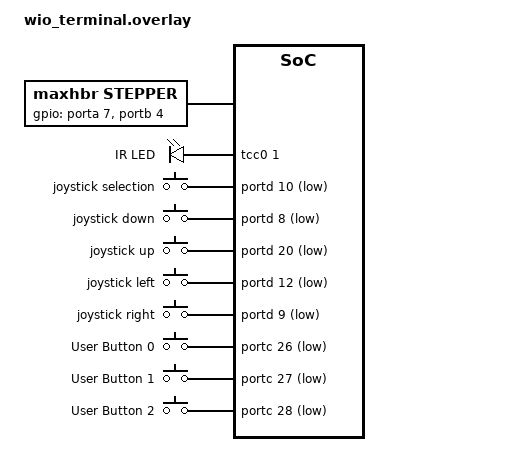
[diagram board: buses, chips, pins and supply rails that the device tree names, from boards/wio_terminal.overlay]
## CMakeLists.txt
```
# SPDX-License-Identifier: Apache-2.0

# Re-direct the directory where the 'boards' directory is found from
# $ZEPHYR_BASE to this directory.
# set(BOARD_ROOT ${CMAKE_CURRENT_LIST_DIR})


# set(BOARD wio_terminal)
# set(BOARD nucleo_f767zi)
# set(SHIELD adafruit_2_8_tft_touch_v2)

set(CMAKE_C_FLAGS -lstdc++)
set(CMAKE_CXX_FLAGS -lstdc++)

cmake_minimum_required(VERSION 3.13.1)

find_package(Zephyr REQUIRED HINTS $ENV{ZEPHYR_BASE})
project(zephyr-rail)

zephyr_library_compile_options(-lstdc++ -std=c++17 -Wall -Wextra -Wno-missing-field-initializers -Wno-unused-variable -Wno-comment)


FILE(GLOB app_sources src/*.cpp)
target_sources(app PRIVATE ${app_sources})
```

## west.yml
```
manifest:
  defaults:
    remote: zephyrproject-rtos
  remotes:
    - name: zephyrproject-rtos
      url-base: https://github.com/zephyrproject-rtos
  projects:
    - name: zephyr
      remote: zephyrproject-rtos
      revision: v3.5.0
      clone-depth: 1
      import: true
  self:
    path: zephyr-template
```

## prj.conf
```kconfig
CONFIG_NEWLIB_LIBC=y
CONFIG_CPLUSPLUS=y
CONFIG_LIB_CPLUSPLUS=y
CONFIG_STD_CPP17=y

CONFIG_EARLY_CONSOLE=y

CONFIG_HEAP_MEM_POOL_SIZE=16384
CONFIG_MAIN_STACK_SIZE=2048
CONFIG_LV_Z_MEM_POOL_SIZE=16384
CONFIG_LV_Z_SHELL=y

CONFIG_INIT_STACKS=y
CONFIG_THREAD_STACK_INFO=y
CONFIG_SYSTEM_WORKQUEUE_STACK_SIZE=4096
# CONFIG_BT_RX_STACK_SIZE=4096

CONFIG_CONSOLE_SUBSYS=y
CONFIG_CONSOLE_GETLINE=y

CONFIG_PWM=y

CONFIG_LOG=y
CONFIG_ASSERT=y
CONFIG_SHELL=y

CONFIG_I2C=y
CONFIG_SPI=y

CONFIG_INPUT=y
CONFIG_GPIO=y

###############################################################################
### zbus
CONFIG_ZBUS=y
CONFIG_ZBUS_LOG_LEVEL_INF=y
CONFIG_ZBUS_CHANNEL_NAME=y
CONFIG_ZBUS_OBSERVER_NAME=y
CONFIG_ZBUS_RUNTIME_OBSERVERS=y

###############################################################################
### lvgl
CONFIG_DISPLAY=y
CONFIG_DISPLAY_LOG_LEVEL_ERR=y
CONFIG_LVGL=y
CONFIG_LV_MEM_CUSTOM=y
CONFIG_LV_USE_LOG=y
CONFIG_LV_USE_LABEL=y
CONFIG_LV_USE_BTN=y
CONFIG_LV_USE_ARC=y
CONFIG_LV_USE_IMG=y
CONFIG_LV_USE_MONKEY=y
CONFIG_LV_FONT_MONTSERRAT_14=y
# CONFIG_LVGL_HOR_RES_MAX=320
# CONFIG_LVGL_VER_RES_MAX=240
# CONFIG_LVGL_LOG_LEVEL_WRN=y

# # Make sure that the rendering task is always executed if we call
# # lv_task_handler by setting the refresh period to zero
# CONFIG_LVGL_DISP_DEF_REFR_PERIOD=0
# # CONFIG_LVGL_COLOR_SCREEN_TRANSP=y
# CONFIG_LVGL_ANTIALIAS=y

# # CONFIG_LVGL_POINTER_KSCAN=y
# # CONFIG_LVGL_POINTER_KSCAN_MSGQ_COUNT=100

# # CONFIG_LVGL_USE_ANIMATION=y
# # CONFIG_LVGL_USE_SHADOW=y
# # CONFIG_LVGL_USE_OUTLINE=y
# # CONFIG_LVGL_USE_PATTERN=y
# # CONFIG_LVGL_USE_VALUE_STR=y
# # CONFIG_LVGL_USE_BLEND_MODES=y
# # CONFIG_LVGL_USE_OPA_SCALE=y
# # CONFIG_LVGL_USE_IMG_TRANSFORM=y
# # CONFIG_LVGL_USE_GROUP=y
# # CONFIG_LVGL_USE_GPU=y
# # CONFIG_LVGL_IMG_CF_INDEXED=y
# # CONFIG_LVGL_IMG_CF_ALPHA=y
# # CONFIG_LVGL_USE_FILESYSTEM=y
# # CONFIG_LVGL_DOUBLE_VDB=y
# # CONFIG_LVGL_USE_BIDI=y
# # CONFIG_LVGL_USE_ARABIC_PERSIAN_CHARS=y
# # CONFIG_LVGL_USE_OBJ_REALIGN=y
# CONFIG_LVGL_USE_LABEL=y
# # CONFIG_LVGL_LABEL_TEXT_SEL=y
# # CONFIG_LVGL_LABEL_LONG_TXT_HINT=y
# # CONFIG_LVGL_USE_IMG=y
# # CONFIG_LVGL_USE_LINE=y
# # CONFIG_LVGL_USE_ARC=y
# CONFIG_LVGL_USE_CONT=y
# CONFIG_LVGL_USE_PAGE=y
# CONFIG_LVGL_USE_WIN=y
# CONFIG_LVGL_USE_TABVIEW=y
# # CONFIG_LVGL_USE_TILEVIEW=y
# # CONFIG_LVGL_USE_CALENDAR=y
# # CONFIG_LVGL_CALENDAR_WEEK_STARTS_MONDAY=y
# # CONFIG_LVGL_USE_SPINNER=y
# # CONFIG_LVGL_USE_CANVAS=y
# CONFIG_LVGL_USE_BAR=y
# # CONFIG_LVGL_USE_LINEMETER=y
# # CONFIG_LVGL_USE_GAUGE=y
# # CONFIG_LVGL_USE_CHART=y
# # CONFIG_LVGL_USE_TABLE=y
# # CONFIG_LVGL_USE_LED=y
# # CONFIG_LVGL_USE_MSGBOX=y
# # CONFIG_LVGL_USE_TEXTAREA=y
# # CONFIG_LVGL_USE_SPINBOX=y
# CONFIG_LVGL_USE_BTN=y
# # CONFIG_LVGL_USE_IMGBTN=y
# # CONFIG_LVGL_IMGBTN_TILED=y
# CONFIG_LVGL_USE_BTNMATRIX=y
# # CONFIG_LVGL_USE_KEYBOARD=y
# CONFIG_LVGL_USE_CHECKBOX=y
# CONFIG_LVGL_USE_LIST=y
# CONFIG_LVGL_USE_DROPDOWN=y
# CONFIG_LVGL_USE_ROLLER=y
# CONFIG_LVGL_USE_SLIDER=y
# # CONFIG_LVGL_USE_SWITCH=y
# # CONFIG_LVGL_USE_LED=y
# # CONFIG_LVGL_USE_OBJMASK=y
# CONFIG_LVGL_USE_THEME_MATERIAL=y
# # CONFIG_LVGL_FONT_MONTSERRAT_8=y
# # CONFIG_LVGL_FONT_MONTSERRAT_10=y
# CONFIG_LVGL_FONT_MONTSERRAT_12=y
# # CONFIG_LVGL_FONT_MONTSERRAT_14=y
# CONFIG_LVGL_FONT_MONTSERRAT_16=y
# # CONFIG_LVGL_FONT_MONTSERRAT_18=y
# # CONFIG_LVGL_FONT_MONTSERRAT_20=y
# # CONFIG_LVGL_FONT_MONTSERRAT_22=y
# CONFIG_LVGL_FONT_MONTSERRAT_24=y
# # CONFIG_LVGL_FONT_MONTSERRAT_26=y
# CONFIG_LVGL_FONT_MONTSERRAT_28=y
# # CONFIG_LVGL_FONT_MONTSERRAT_30=y
# # CONFIG_LVGL_FONT_MONTSERRAT_32=y
# # CONFIG_LVGL_FONT_MONTSERRAT_34=y
# # CONFIG_LVGL_FONT_MONTSERRAT_36=y
# # CONFIG_LVGL_FONT_MONTSERRAT_38=y
# # CONFIG_LVGL_FONT_MONTSERRAT_40=y
# # CONFIG_LVGL_FONT_MONTSERRAT_42=y
# # CONFIG_LVGL_FONT_MONTSERRAT_44=y
# # CONFIG_LVGL_FONT_MONTSERRAT_46=y
# # CONFIG_LVGL_FONT_MONTSERRAT_48=y
# # CONFIG_LVGL_FONT_MONTSERRAT_12_SUBPX=y
# # CONFIG_LVGL_FONT_MONTSERRAT_28_COMPRESSED=y
# # CONFIG_LVGL_FONT_DEJAVU_16_PERSIAN_HEBREW=y
# # CONFIG_LVGL_FONT_SIMSUN_16_CJK=y
# # CONFIG_LVGL_FONT_UNSCII_8=y
# # CONFIG_LVGL_USE_FONT_COMPRESSED=y
# # CONFIG_LVGL_USE_FONT_SUBPX=y

# # CONFIG_LVGL_VDB_SIZE=64
# # CONFIG_LVGL_DPI=148
# # CONFIG_LVGL_BITS_PER_PIXEL=1
# # CONFIG_LVGL_COLOR_DEPTH=LVGL_COLOR_DEPTH_1

###############################################################################
### sensors
CONFIG_SENSOR=y
CONFIG_CBPRINTF_FP_SUPPORT=y

# CONFIG_BMI160=y

###############################################################################
### networking
# CONFIG_NETWORKING=y

# CONFIG_NET_CONFIG_AUTO_INIT=y

# # #CONFIG_NET_TX_STACK_SIZE=2048
# # #CONFIG_NET_RX_STACK_SIZE=2048

# # #CONFIG_NET_PKT_RX_COUNT=10
# # #CONFIG_NET_PKT_TX_COUNT=10
# # #CONFIG_NET_BUF_RX_COUNT=20
# # #CONFIG_NET_BUF_TX_COUNT=20
# # #CONFIG_NET_MAX_CONTEXTS=10


# # CONFIG_NET_IPV4=y
# # CONFIG_NET_IPV6=n

# # CONFIG_NET_TCP=y

# # CONFIG_NET_LOG=y
# # CONFIG_INIT_STACKS=y

# # #CONFIG_NET_STATISTICS=y
# # #CONFIG_NET_STATISTICS_PERIODIC_OUTPUT=n

# CONFIG_WIFI=y
# CONFIG_WIFI_LOG_LEVEL_ERR=y
# # # CONFIG_NET_L2_WIFI_SHELL=y
```

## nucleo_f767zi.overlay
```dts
/*
 *
 * SPDX-License-Identifier: Apache-2.0
 */
 / {
	stepper: stepper {
		compatible = "stepper";
		gpios = <&gpioe 9 GPIO_ACTIVE_HIGH>, /* D6 */
		        <&gpioe 11 GPIO_ACTIVE_HIGH>; /* D5 */
	};


	aliases {
		pwmir = &ir_pwm_led;
	};

	pwmleds {
		compatible = "pwm-leds";
		ir_pwm_led: ir_pwm_led {
			pwms = <&pwm5 4 4 PWM_POLARITY_NORMAL>;
			label = "IR LED - A0";
		};
	};

	chosen {
		rail,pwmir = &ir_pwm_led;
	};
};

&arduino_i2c {
	status = "okay";
	touch_controller: ft5336@38 {
		compatible = "focaltech,ft5336";
		reg = <0x38>;
		/* label = "FT5336"; */
		/* Uncomment if IRQ line is available (requires to solder jumper) */
		/* int-gpios = <&arduino_header 13 GPIO_ACTIVE_LOW>; */ /* D7 */
	};
};

&arduino_spi {
	ili9340@0 {
		rotation = < 90 >;
		compatible = "ilitek,ili9340";
	};
};

// &arduino_serial {
// 	status = "okay";
// 	current-speed = <115200>;
// 
// 	esp8266 {
// 		compatible = "espressif,esp";
// 		label = "esp8266";
// 		status = "okay";
// 	};
// };

&timers5 {
    status = "okay";

    pwm5: pwm {
        status = "okay";
		/* st,prescaler = < 2 >; */
		pinctrl-names = "default";
        pinctrl-0 = <&tim5_ch4_pa3>; /* A0 */
    };
};
```

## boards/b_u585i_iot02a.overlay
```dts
/*
 *
 * SPDX-License-Identifier: Apache-2.0
 */
/ {
    stepper: stepper {
        compatible = "maxhbr,stepper";
        gpios = <&gpiob 6 GPIO_ACTIVE_HIGH>, /* D6 */
                <&gpioe 0 GPIO_ACTIVE_HIGH>; /* D5 */
        // pitch = <2>;
        // pulses_per_rev = <50000>;
    };
};
```

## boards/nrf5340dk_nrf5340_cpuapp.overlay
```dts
/*
 *
 * SPDX-License-Identifier: Apache-2.0
 */
/ {
    stepper: stepper {
        compatible = "maxhbr,stepper";
        gpios = <&gpio1 8 0>, /* D6 */
        <&gpio1 7 0>; /* D5 */
        // pitch = <2>;
        // pulses_per_rev = <50000>;
    };

    pwmleds {
        compatible = "pwm-leds";
        ir_pwm_led: ir_pwm_led {
            pwms = <&sw_pwm 0 PWM_MSEC(20) PWM_POLARITY_INVERTED>;
            label = "IR LED";
        };
    };

    chosen {
        rail,pwmir = &ir_pwm_led;
    };
};
```

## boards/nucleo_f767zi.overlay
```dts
/*
 *
 * SPDX-License-Identifier: Apache-2.0
 */
 / {
	stepper: stepper {
		compatible = "stepper";
		gpios = <&gpioe 9 GPIO_ACTIVE_HIGH>, /* D6 */
		        <&gpioe 11 GPIO_ACTIVE_HIGH>; /* D5 */
		#pitch = <2>;
		pulses_per_rev = <50000>;
	};


	aliases {
		pwmir = &ir_pwm_led;
	};

	pwmleds {
		compatible = "pwm-leds";
		ir_pwm_led: ir_pwm_led {
			pwms = <&pwm5 4 4 PWM_POLARITY_NORMAL>;
			label = "IR LED - A0";
		};
	};

	chosen {
		rail,pwmir = &ir_pwm_led;
	};
};

&arduino_i2c {
	status = "okay";
	touch_controller: ft5336@38 {
		compatible = "focaltech,ft5336";
		reg = <0x38>;
		/* label = "FT5336"; */
		/* Uncomment if IRQ line is available (requires to solder jumper) */
		/* int-gpios = <&arduino_header 13 GPIO_ACTIVE_LOW>; */ /* D7 */
	};
};

&arduino_spi {
	ili9340@0 {
		rotation = < 90 >;
		compatible = "ilitek,ili9340";
	};
};

// &arduino_serial {
// 	status = "okay";
// 	current-speed = <115200>;
// 
// 	esp8266 {
// 		compatible = "espressif,esp";
// 		label = "esp8266";
// 		status = "okay";
// 	};
// };

&timers5 {
    status = "okay";

    pwm5: pwm {
        status = "okay";
		/* st,prescaler = < 2 >; */
		pinctrl-names = "default";
        pinctrl-0 = <&tim5_ch4_pa3>; /* A0 */
    };
};
```

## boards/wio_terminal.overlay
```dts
/*
 *
 * SPDX-License-Identifier: Apache-2.0
 */
//#include <zephyr/dt-bindings/input/input-event-codes.h>
//#include <zephyr/dt-bindings/lvgl/lvgl.h>
/ {
	stepper: stepper {
		compatible = "maxhbr,stepper";
		gpios = <&porta 7 GPIO_ACTIVE_HIGH>, /* A2/D2 */
		        <&portb 4 GPIO_ACTIVE_HIGH>;    /* A3/D3 */
		//pitch = <2>;
		//pulses_per_rev = <50000>;
	};

	// lvgl_button_input {
		// compatible = "zephyr,lvgl-button-input";
		// //input = <&gpio_keys>;
		// input-codes = <INPUT_KEY_B>;
		// coordinates = <160 120>;
	// };

	// lvgl_keypad_input {
		// compatible = "zephyr,lvgl-keypad-input";
		// //input = <&gpio_keys>;
		// input-codes = <INPUT_KEY_LEFT INPUT_KEY_RIGHT INPUT_KEY_ENTER>;
		// lvgl-codes = <LV_KEY_LEFT LV_KEY_RIGHT LV_KEY_ENTER>;
	// };

	pwmleds {
		compatible = "pwm-leds";
		ir_pwm_led: ir_pwm_led {
			pwms = <&tcc0 1 PWM_MSEC(20)>;
			label = "IR LED";
		};
	};

	chosen {
		rail,pwmir = &ir_pwm_led;
	};

	gpio_keys {
		compatible = "gpio-keys";
		joy_sel: joystick_selection {
			label = "joystick selection";
			gpios = <&portd 10 GPIO_ACTIVE_LOW>;
			zephyr,code = <INPUT_KEY_ENTER>;
		};
		joy_down: joystick_down {
			label = "joystick down";
			gpios = <&portd 8 GPIO_ACTIVE_LOW>;
			zephyr,code = <INPUT_KEY_DOWN>;
		};
		joy_up: joystick_up {
			label = "joystick up";
			gpios = <&portd 20 GPIO_ACTIVE_LOW>;
			zephyr,code = <INPUT_KEY_UP>;
		};
		joy_left: joystick_left {
			label = "joystick left";
			gpios = <&portd 12 GPIO_ACTIVE_LOW>;
			zephyr,code = <INPUT_KEY_LEFT>;
		};
		joy_right: joystick_right {
			label = "joystick right";
			gpios = <&portd 9 GPIO_ACTIVE_LOW>;
			zephyr,code = <INPUT_KEY_RIGHT>;
		};
		user_button_0: button_0 {
			label = "User Button 0";
			gpios = <&portc 26 GPIO_ACTIVE_LOW>;
			zephyr,code = <INPUT_KEY_0>;
		};
		user_button_1: button_1 {
			label = "User Button 1";
			gpios = <&portc 27 GPIO_ACTIVE_LOW>;
			zephyr,code = <INPUT_KEY_1>;
		};
		user_button_2: button_2 {
			label = "User Button 2";
			gpios = <&portc 28 GPIO_ACTIVE_LOW>;
			zephyr,code = <INPUT_KEY_2>;
		};
	};

};
&tcc0 {
	compatible = "atmel,sam0-tcc-pwm";
	prescaler = <8>;
	#pwm-cells = <2>;
};

// &tcc1 {
	//     compatible = "atmel,sam0-tcc-pwm";
	//     prescaler = <8>;
	//     #pwm-cells = <2>;
// };
//
// &tcc2 {
	//     compatible = "atmel,sam0-tcc-pwm";
	//     prescaler = <8>;
	//     #pwm-cells = <2>;
// };
//
// &tcc3 {
	//     compatible = "atmel,sam0-tcc-pwm";
	//     prescaler = <8>;
	//     #pwm-cells = <2>;
// };
//
// &tcc4 {
	//     compatible = "atmel,sam0-tcc-pwm";
	//     prescaler = <8>;
	//     #pwm-cells = <2>;
// };
```

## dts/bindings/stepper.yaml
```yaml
# Copyright (c) 2023 Libre Solar Technologies GmbH
# SPDX-License-Identifier: Apache-2.0

description: the stepper, powering the rail

compatible: "maxhbr,stepper"

properties:
  gpios:
    type: phandle-array
    required: true
    description: |
      The GPIO connected to pulse and dir
#  pitch:
#    type: int
#    required: true
#    description: pitch in mm
#  pulses_per_rev:
#    type: int
#    required: true
#    description: pulses per revolution
```

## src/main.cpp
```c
/*
 * Copyright (c) 2018 Google LLC.
 *
 * SPDX-License-Identifier: Apache-2.0
 */

#include <stdbool.h>
#include <stdio.h>
#include <stdlib.h>
#include <string.h>
#include <zephyr/types.h>

#include <zephyr/device.h>
#include <zephyr/init.h>
#include <zephyr/kernel.h>
#include <zephyr/sys/byteorder.h>
#include <zephyr/sys/crc.h>
#include <zephyr/sys/printk.h>
#include <zephyr/zbus/zbus.h>
#include <zephyr/drivers/gpio.h>
#include <zephyr/input/input.h>

#include <zephyr/console/console.h>

#include <lvgl.h>

#include <zephyr/logging/log.h>
LOG_MODULE_REGISTER(rail);

#include "IrSony.h"
#include "StepperWithTarget.h"
#include "Controller.h"
#include "Model.h"
#include "Display.h"
#include "View.h"

#define SW0_NODE DT_ALIAS(sw0)

StepperWithTarget *stepper_ptr;
Controller *controller_ptr;
Model *model_ptr;
View *view_ptr;

// ############################################################################
// initialize Stepper

void stepper_work_handler(struct k_work *work)
{
  ARG_UNUSED(work);
  if (stepper_ptr == NULL)
  {
    return;
  }
  stepper_ptr->step_towards_target();
}
K_WORK_DEFINE(stepper_work, stepper_work_handler);
void stepper_expiry_function(struct k_timer *timer_id)
{
  ARG_UNUSED(timer_id);
  k_work_submit(&stepper_work);
}
K_TIMER_DEFINE(stepper_timer, stepper_expiry_function, NULL);
void start_stepper()
{
  if (stepper_ptr == NULL)
  {
    return;
  }
  stepper_ptr->start();
  k_timer_start(&stepper_timer, K_USEC(20), K_USEC(20));
}

// ############################################################################
// initialize ZBus for Stepper
ZBUS_CHAN_DEFINE(controller_msg_chan,   /* Name */
                 struct controller_msg, /* Message type */
                 NULL,
                 NULL,
                 ZBUS_OBSERVERS(controller_action_listener),
                 ZBUS_MSG_INIT(.action = NOOP_CONTROLLER_ACTION, .value = 0));

static void controller_action_listener_cb(const struct zbus_channel *chan)
{
  if (controller_ptr == NULL)
  {
    return;
  }
  const struct controller_msg *msg = (const struct controller_msg *)zbus_chan_const_msg(chan);
  controller_ptr->handle_controller_msg(msg);
}

ZBUS_LISTENER_DEFINE(controller_action_listener, controller_action_listener_cb);

// ############################################################################
// initialize Button

#if 0
static void input_cb(struct input_event *evt)
{

  char buf[1000];
  snprintf(buf, sizeof(buf), "type: %d, code: %d, value: %d", evt->type, evt->code, evt->value);
  // display_ptr->set_debug_text(buf);

  if (evt->type != INPUT_EV_KEY)
  {
    return;
  }
  if (evt->value == 0)
  {
    return;
  }
  int err;
  struct stepper_msg msg;

  switch (evt->code)
  {
  case INPUT_KEY_2:
    msg = {-1000, MOVE_RELATIVE};
    err = zbus_chan_pub(&stepper_diff_chan, &msg, K_MSEC(200));
    break;
  case INPUT_KEY_1:
    msg = {0, MOVE_ABSOLUTE};
    err = zbus_chan_pub(&stepper_diff_chan, &msg, K_MSEC(200));
    break;
  case INPUT_KEY_0:
    msg = {1000, MOVE_RELATIVE};
    err = zbus_chan_pub(&stepper_diff_chan, &msg, K_MSEC(200));
    break;
  case INPUT_KEY_ENTER:
    msg = {0, MOVE_ABSOLUTE};
    err = zbus_chan_pub(&stepper_diff_chan, &msg, K_MSEC(200));
    break;
  case INPUT_KEY_DOWN:
    msg = {102, MOVE_RELATIVE};
    err = zbus_chan_pub(&stepper_diff_chan, &msg, K_MSEC(200));
    break;
  case INPUT_KEY_UP:
    msg = {103, MOVE_RELATIVE};
    err = zbus_chan_pub(&stepper_diff_chan, &msg, K_MSEC(200));
    break;
  case INPUT_KEY_LEFT:
    msg = {104, MOVE_RELATIVE};
    err = zbus_chan_pub(&stepper_diff_chan, &msg, K_MSEC(200));
    break;
  case INPUT_KEY_RIGHT:
    msg = {105, MOVE_RELATIVE};
    err = zbus_chan_pub(&stepper_diff_chan, &msg, K_MSEC(200));
    break;
  default:
    LOG_INF("Unrecognized input code %u value %d",
            evt->code, evt->value);
    return;
  }
  if (err == -ENOMSG)
  {
    LOG_INF("Pub an invalid value to a channel with validator successfully.");
  }
}

INPUT_CALLBACK_DEFINE(NULL, input_cb);
#endif

// ############################################################################
// Main

int main(void)
{
  LOG_INF("CONFIG_BOARD=%s", CONFIG_BOARD);
  StepperWithTarget stepper;
  stepper_ptr = &stepper;
  // Display display(&model_status_chan);
  // display_ptr = &display;
  IrSony irsony;
  Model model(stepper_ptr);
  model_ptr = &model;
  Controller controller(&model, &irsony);
  controller_ptr = &controller;
  View view(&model, &controller);

  LOG_INF("Initialize model");
  model.set_upper_bound(25600);
  model.set_step_number(300);
  controller.prepare_stack();
  model.log_state();

  LOG_INF("Start main loop");
  k_sleep(K_MSEC(100));
  start_stepper();
  while (true)
  {
    k_sleep(K_MSEC(100));
    view.update();
    controller.work();
  }

  return 0;
}
```

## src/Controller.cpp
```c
#include "Controller.h"
#include <zephyr/logging/log.h>
LOG_MODULE_REGISTER(controller);

K_SEM_DEFINE(_work_in_progress_sem, 1, 1);
Controller::Controller(Model *_model, IrSony *_irsony)
    : model{_model}, irsony{_irsony}
{
  work_in_progress_sem = &_work_in_progress_sem;
}

void Controller::work()
{
  if (k_sem_take(work_in_progress_sem, K_MSEC(50)) != 0)
  {
    LOG_WRN("work, but semaphore is not availablel");
    return;
  }
  if (model->is_stack_in_progress() && model->is_in_target_position())
  {
    do_next_stack_step();
  }
  k_sem_give(work_in_progress_sem);
}

void Controller::go(int dist) { model->go(dist); }
void Controller::go_to(int target_position)
{
  model->set_target_position(target_position);
}
void Controller::go_to_upper_bound()
{
  model->set_target_position(model->get_upper_bound());
}
void Controller::go_to_lower_bound()
{
  model->set_target_position(model->get_lower_bound());
}

void Controller::set_new_upper_bound()
{
  model->set_upper_bound(model->get_target_position());
  prepare_stack();
}

void Controller::set_new_lower_bound()
{
  model->set_lower_bound(model->get_target_position());
  prepare_stack();
}

void Controller::set_step_number(int step_number)
{
  model->set_step_number(step_number);
  prepare_stack();
}

void Controller::handle_controller_msg(const struct controller_msg *msg)
{
  switch (msg->action)
  {
  case NOOP_CONTROLLER_ACTION:
    break;
  case GO_CONTROLLER_ACTION:
    go(msg->value);
    break;
  case GO_TO_CONTROLLER_ACTION:
    go_to(msg->value);
    break;
  default:
    LOG_ERR("unknown action: %i", msg->action);
    break;
  }
}

void Controller::synchronize_and_sleep(k_timeout_t timeout)
{
  k_sleep(K_MSEC(10));

  k_sleep(timeout);
}

void Controller::prepare_stack()
{
  if (model->is_stack_in_progress())
  {
    LOG_WRN("tried to prepare while stack was in progress");
    return;
  }

  int cur_position = model->get_cur_position();
  int upper_bound = model->get_upper_bound();
  int lower_bound = model->get_lower_bound();

  int start, stop;
  if (abs(lower_bound - cur_position) < abs(upper_bound - cur_position))
  {
    start = lower_bound;
    stop = upper_bound;
  }
  else
  {
    start = upper_bound;
    stop = lower_bound;
  }

  int step_number = model->get_step_number();
  LOG_INF("prepare_stack: %d -> %d, #=%d", start, stop, step_number);

  int distance = stop - start;
  int stack_step_jump = distance / step_number;
  if (stack_step_jump == 0)
  {
    LOG_WRN("step_jump of 0");
    return;
  }
  int i;
  for (i = 0; i < (step_number - 1); i++)
  {
    model->set_step_position(i, start + i * stack_step_jump);
  }
  model->set_step_position(step_number - 1, stop);
}

void Controller::start_stack()
{
  if (model->is_stack_in_progress())
  {
    LOG_WRN("start_stack, stack already running");
  }
  else
  {
    LOG_INF("start_stack");
    std::optional<int> start_position = model->get_next_step_and_increment();
    if (!start_position.has_value())
    {
      LOG_ERR("stacking start failed");
      return;
    }
    go_to(start_position.value());
    model->set_stack_in_progress(true);
  }
}

void Controller::stop_stack()
{
  LOG_INF("stop_stack");
  model->set_stack_in_progress(false);
}

void Controller::do_next_stack_step()
{
  if (!model->is_stack_in_progress())
  {
    LOG_ERR("stacking, but not in progress");
    return;
  }

  if (!model->is_in_target_position())
  {
    LOG_WRN("stacking, but not yet in target position");
    return;
  }

  LOG_INF("stacking, waiting");
  k_sleep(K_MSEC(2000));
  LOG_INF("stacking, take pickture");
  irsony->shoot();
  k_sleep(K_MSEC(500));

  std::optional<int> next_position = model->get_next_step_and_increment();
  if (!next_position.has_value())
  {
    LOG_INF("stacking, finished");
    return;
  }
  LOG_INF("stacking, next is %d", next_position.value());

  go_to(next_position.value());
}
```

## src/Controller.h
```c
#ifndef __CONTROLLER_H_
#define __CONTROLLER_H_

#include <zephyr/device.h>
#include <zephyr/init.h>
#include <stdbool.h>
#include <stdio.h>
#include <stdlib.h>
#include <string.h>
#include <zephyr/kernel.h>
#include <zephyr/types.h>

#include <zephyr/drivers/display.h>
#include <lvgl.h>

#include <zephyr/logging/log.h>

#include "IrSony.h"
#include "Model.h"


#define NOOP_CONTROLLER_ACTION 0
#define GO_CONTROLLER_ACTION 1
#define GO_TO_CONTROLLER_ACTION 2

struct controller_msg
{
  int action;
  int value;
};

class Controller
{
  Model *model;
  IrSony *irsony;
  struct k_sem *work_in_progress_sem;

public:
  Controller(Model *_model, IrSony *_irsony);
  void work();

  void go(int dist);
  void go_to(int target_position);
  void go_to_upper_bound();
  void go_to_lower_bound();
  void set_new_upper_bound();
  void set_new_lower_bound();
  void set_step_number(int step_number);

  void handle_controller_msg(const struct controller_msg *msg);

  void synchronize_and_sleep(k_timeout_t timeout);

  void prepare_stack();
  void start_stack();
  void stop_stack();
  void do_next_stack_step();
};

#endif // __CONTROLLER_H_
```

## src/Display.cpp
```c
#include "Display.h"
#include <zephyr/logging/log.h>
LOG_MODULE_REGISTER(display);

void Display::init_header(lv_obj_t *parent)
{
  header = add_container(parent, LV_HOR_RES, 25);
  lv_obj_align(header, LV_ALIGN_TOP_MID, 0, 0);
}

void Display::init_tabview(lv_obj_t *parent)
{
  tabview = lv_tabview_create(parent, LV_DIR_TOP, 40);
  lv_obj_set_size(tabview, LV_HOR_RES, LV_VER_RES - 40);
}

Display::Display()
{
  k_mutex_init(&lvgl_mutex);
  if (!device_is_ready(display_dev))
  {
    LOG_ERR("Device not ready, aborting");
    return;
  }
  LOG_INF("initialize display...");
  init_tabview(lv_scr_act());

  lv_task_handler();
  display_blanking_off(display_dev);
  lv_task_handler();
  LOG_INF("...initialize display done");
}

void Display::run_task_handler()
{
  lv_task_handler();
}

#if 0
lv_obj_t *Display::get_header() { return header; }
#endif

lv_obj_t *Display::make_tab(const char *title)
{
  return lv_tabview_add_tab(tabview, title);
}

lv_obj_t *Display::add_container(lv_obj_t *parent, int width, int height)
{
  lv_obj_t *container = lv_win_create(parent, NULL);
  lv_obj_set_size(container, width, height);
  // lv_cont_set_fit(container, LV_FIT_TIGHT);
  // lv_cont_set_layout(container, LV_LAYOUT_COLUMN_MID);
  return container;
}
lv_obj_t *Display::add_label(lv_obj_t *parent)
{
  lv_obj_t *lbl = lv_label_create(parent);
  // lv_obj_add_style(lbl, 0, &style_normal);
  return lbl;
}

lv_obj_t *Display::add_panel(lv_obj_t *parent)
{
  lv_obj_t *panel = lv_obj_create(parent);
  // lv_obj_add_style(panel, 0, &style_box);
  return panel;
}

lv_obj_t *Display::add_button(lv_obj_t *parent, const char *label_text,
                              int width, int height)
{
  lv_obj_t *btn = lv_btn_create(parent);
  lv_obj_set_height(btn, height);
  lv_obj_set_width(btn, width);
  // lv_obj_add_style(btn, 0, &style_button);
  if (label_text != NULL)
  {
    lv_obj_t *label = lv_label_create(btn);
    lv_label_set_text(label, label_text);
    // lv_obj_add_style(label, 0, &style_normal);
  }
  return btn;
}

#if 0
void Display::set_header_visible(bool is_visible) {
  lv_obj_set_hidden(header, !is_visible);
}
#endif

lv_obj_t *Display::add_roller(lv_obj_t *parent, const char *options)
{
  lv_obj_t *roller = lv_roller_create(parent);
  lv_roller_set_options(roller, options, LV_ROLLER_MODE_NORMAL);

  lv_roller_set_visible_row_count(roller, 4);
  return roller;
}
```

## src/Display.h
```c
#ifndef __DISPLAY_H_
#define __DISPLAY_H_

#include <zephyr/drivers/display.h>
#include <zephyr/kernel.h>
#include <zephyr/device.h>
#include <zephyr/init.h>
#include <zephyr/drivers/display.h>
#include <zephyr/zbus/zbus.h>
#include <lvgl.h>
#include <lvgl_input_device.h>
#include <map>
// #include <sys/mutex.h>

#include "Model.h"
#include "StepperWithTarget.h"
#include "Stepper.h"

static struct k_mutex lvgl_mutex;

class Display
{
  const struct device *display_dev = DEVICE_DT_GET(DT_CHOSEN(zephyr_display));
  // const struct device *lvgl_keypad = DEVICE_DT_GET(DT_COMPAT_GET_ANY_STATUS_OKAY(zephyr_lvgl_keypad_input));

  void init_styles();
  lv_obj_t *header;
  lv_obj_t *tabview;
  void init_header(lv_obj_t *parent);
  void init_tabview(lv_obj_t *parent);

  const lv_font_t *font_title = &lv_font_montserrat_14;    // _28;
  const lv_font_t *font_subtitle = &lv_font_montserrat_14; // _24;
  const lv_font_t *font_normal = &lv_font_montserrat_14;   // _16;
  const lv_font_t *font_small = &lv_font_montserrat_14;    // _12;

public:
  Display();

  // lv_obj_t *get_header();
  lv_obj_t *make_tab(const char *title);
  lv_obj_t *add_container(lv_obj_t *parent, int width, int heigth);
  lv_obj_t *add_label(lv_obj_t *parent);
  lv_obj_t *add_panel(lv_obj_t *parent);
  lv_obj_t *add_button(lv_obj_t *parent, const char *label_text, int width,
                       int heigth);
  lv_obj_t *add_roller(lv_obj_t *parent, const char *options);
  void set_header_visible(bool is_visible);

  void run_task_handler();
  void update_status(const struct model_status status);
};

#endif // __DISPLAY_H_
```

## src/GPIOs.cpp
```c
#include "GPIOs.h"
#include <zephyr/logging/log.h>
LOG_MODULE_REGISTER(gpios);

GPIO::GPIO(const struct gpio_dt_spec *_spec, gpio_flags_t extra_flags) : spec{_spec}
{
  LOG_MODULE_DECLARE(gpios);
  LOG_INF("init gpio %s", spec->port->name);
  if (!gpio_is_ready_dt(spec))
  {
    LOG_ERR("gpio %s not ready", spec->port);
    return;
  }

  ret = gpio_pin_configure_dt(spec, GPIO_OUTPUT_ACTIVE);
  if (ret < 0)
  {
    LOG_ERR("Failed to configure gpio %s (err %i)", spec->port->name, ret);
    return;
  }
}

void GPIO::set(bool value)
{
  LOG_MODULE_DECLARE(gpios);
  if (ret == 0)
  {
    if (value != cur_value)
    {
      cur_value = value;
      gpio_pin_set_dt(spec, value);
    }
  }
  else
  {
    LOG_WRN("Do nothing, since ret=%i", ret);
  }
}
```

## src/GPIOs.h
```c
#ifndef __GPIOS_H_
#define __GPIOS_H_

#include <zephyr/device.h>
#include <zephyr/init.h>
#include <stdbool.h>
#include <stdio.h>
#include <stdlib.h>
#include <string.h>
#include <zephyr/kernel.h>
#include <zephyr/types.h>

#include <lvgl.h>

#include <zephyr/drivers/display.h>
#include <zephyr/drivers/gpio.h>

class GPIO
{
  const struct gpio_dt_spec *spec;
  const struct device *dev;
  int pin = -1;
  int ret = -1;
  bool cur_value = false;

public:
  GPIO(const struct gpio_dt_spec *_spec, gpio_flags_t extra_flags);
  void set(bool value);
};

class LED : public GPIO
{
public:
  LED(const struct gpio_dt_spec *spec) : GPIO(spec, GPIO_OUTPUT_ACTIVE)
  {
    set(true);
    k_msleep(100);
    set(false);
  };
};

#endif // __GPIOS_H_
```

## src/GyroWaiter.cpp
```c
#include <stdbool.h>
#include <stdio.h>
#include <stdlib.h>
#include <string.h>
#include <zephyr/zephyr.h>
#include <zephyr/types.h>

#include <zephyr/device.h>
#include <zephyr/init.h>
#include <zephyr/kernel.h>
#include <zephyr/net/buf.h>
#include <zephyr/sys/byteorder.h>
#include <zephyr/sys/crc.h>
#include <zephyr/sys/printk.h>

#include <lvgl.h>

#include <zephyr/drivers/sensor.h>

#include "GyroWaiter.h"

#include <zephyr/logging/log.h>
LOG_MODULE_REGISTER(gyro);

void GyroWaiter::init(){
  LOG_INF("gyro waiter init...");
  offset_0 = 0;
  offset_1 = 0;
  offset_2 = 0;
  if (mpu6050 == NULL) {
    return;
  }

  k_sleep(K_MSEC(500));
  int rc = 0;
  struct sensor_value gyro[3];
  int num_of_samples = 10;
  for(int idx = 1; idx < num_of_samples; ++idx) {
    rc = sensor_sample_fetch(mpu6050);
    if (rc == 0) {
      rc = sensor_channel_get(mpu6050, SENSOR_CHAN_GYRO_XYZ, gyro);
    }

    LOG_DBG("( %f , %f , %f )", sensor_value_to_double(&gyro[0]),
            sensor_value_to_double(&gyro[1]), sensor_value_to_double(&gyro[2]));

    offset_0 += sensor_value_to_double(&gyro[0]);
    offset_1 += sensor_value_to_double(&gyro[1]);
    offset_2 += sensor_value_to_double(&gyro[1]);

    k_sleep(K_MSEC(sleep_msec));
  }
  offset_0 = offset_0 / num_of_samples;
  offset_1 = offset_1 / num_of_samples;
  offset_2 = offset_2 / num_of_samples;
  LOG_INF("gyro waiter offsets: ( %f , %f , %f )", offset_0, offset_1, offset_2);
}

int GyroWaiter::wait() {
  if (mpu6050 == NULL) {
    return 0;
  }

  char gyro_str[40] = {0};
  struct sensor_value gyro[3];

  double cyclic_buffer[num_of_samples * 3] = {1, 1, 1};
  int idx = 1;
  int count = 0;
  int rc = 0;

  LOG_INF("wait for stall...\n");
  while (1) {
    rc = sensor_sample_fetch(mpu6050);
    if (rc == 0) {
      rc = sensor_channel_get(mpu6050, SENSOR_CHAN_GYRO_XYZ, gyro);
    }
    if (rc != 0) {
      break;
    }
    sprintf(gyro_str, "%f\n%f\n%f", sensor_value_to_double(&gyro[0]),
            sensor_value_to_double(&gyro[1]), sensor_value_to_double(&gyro[2]));
    LOG_DBG("... %s\n", gyro_str);
    if (label) {
      lv_label_set_text(label, gyro_str);
    }

    cyclic_buffer[idx * 3] = sensor_value_to_double(&gyro[0]) - offset_0;
    cyclic_buffer[idx * 3 + 1] = sensor_value_to_double(&gyro[1]) - offset_1;
    cyclic_buffer[idx * 3 + 2] = sensor_value_to_double(&gyro[2]) - offset_2;

    double sum = 0;
    for (int i = 0; i < num_of_samples * 3; i++) {
      if (cyclic_buffer[i] > 0) {
        sum += cyclic_buffer[i];
      } else {
        sum -= cyclic_buffer[i];
      }
    }

    LOG_DBG("... %i:sum = %f ...\n", count, sum);
    if (sum < boundary) {
      LOG_INF("... stalled @ sum = %f\n", sum);
      break;
    }

    if (count > bail_count) {
      LOG_WRN("... bail count exceeded: %i > %i\n", count, bail_count);
      rc = -1;
      break;
    }

    idx = (++idx) % num_of_samples;
    k_sleep(K_MSEC(sleep_msec));
    ++count;
  }
  return rc;
};
```

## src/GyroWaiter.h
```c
#ifndef GYRO_WAITER_H
#define GYRO_WAITER_H
#include <stdbool.h>
#include <stdio.h>
#include <stdlib.h>
#include <string.h>
#include <zephyr/zephyr.h>
#include <zephyr/types.h>

#include <zephyr/device.h>
#include <zephyr/init.h>
#include <zephyr/kernel.h>
#include <zephyr/net/buf.h>
#include <zephyr/sys/byteorder.h>
#include <zephyr/sys/crc.h>
#include <zephyr/sys/printk.h>

#include <zephyr/console/console.h>

#include <lvgl.h>

#include <zephyr/drivers/gpio.h>
#include <zephyr/drivers/sensor.h>

#define MPU6050_LABEL DT_LABEL(DT_INST(0, invensense_mpu6050))

class GyroWaiter {
  const struct device *mpu6050 = device_get_binding(MPU6050_LABEL);
  lv_obj_t *label;
  int num_of_samples = 4;
  double boundary = 0.1 * num_of_samples;
  int bail_count = 400;
  int sleep_msec = 50;

  double offset_0 = 0;
  double offset_1 = 0;
  double offset_2 = 0;

public:
  GyroWaiter(){};
  void init();
  int wait();
};
#endif /* GYRO_WAITER_H */
```

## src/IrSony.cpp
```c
#include "IrSony.h"

/*
   contains parts from:

   ATtiny85 Sony NEX/Alpha Remote Control

   David Johnson-Davies - www.technoblogy.com - 12th April 2015
   ATtiny85 @ 1 MHz (internal oscillator; BOD disabled)

   CC BY 4.0
   Licensed under a Creative Commons Attribution 4.0 International license:
   http://creativecommons.org/licenses/by/4.0/
*/

#include <zephyr/logging/log.h>
LOG_MODULE_REGISTER(irsony);

// Remote control
const unsigned long shutter_code = 0x2D;
const unsigned long two_secs_code = 0x37;
const unsigned long video_code = 0x48;

const int BASE = 635;
const int ZERO_DURATION = BASE;
const int ONE_DURATION = BASE * 2;
const int START_DURATION = BASE * 4;

int IrSony::start_carrier()
{
  int ret = pwm_set_dt(&pwmir_spec, PERIOD_USEC, PULSE_USEC);
  if (ret < 0)
  {
    LOG_ERR("failed to start carrier");
  }
  return ret;
}
int IrSony::stop_carrier()
{
  int ret = pwm_set_dt(&pwmir_spec, PERIOD_USEC, 0);
  if (ret < 0)
  {
    LOG_ERR("failed to stop carrier");
  }
  return ret;
}

int IrSony::send_pulse(int duration)
{
  int ret = 0;
  ret = start_carrier();
  if (ret < 0)
  {
    return ret;
  }
  k_busy_wait(duration);
  ret = stop_carrier();
  if (ret < 0)
  {
    return ret;
  }
  k_busy_wait(BASE);
  return ret;
}

int IrSony::send_start()
{
  LOG_MODULE_DECLARE(irsony);
  return send_pulse(START_DURATION);
}
int IrSony::send_bit(bool is_one)
{
  LOG_MODULE_DECLARE(irsony);
  int ret = 0;
  if (is_one)
  {
    ret = send_pulse(ONE_DURATION);
    if (ret < 0)
    {
      return ret;
    }
  }
  else
  {
    ret = send_pulse(ZERO_DURATION);
    if (ret < 0)
    {
      return ret;
    }
  }
  return ret;
}
int IrSony::send_code(unsigned long code)
{
  int ret = 0;
  ret = send_start();
  if (ret < 0)
  {
    return ret;
  }
  // Send 20 bits
  for (int bit = 0; bit < 20; bit++)
  {
    ret = send_bit(code & ((unsigned long)1 << bit));
    if (ret < 0)
    {
      return ret;
    }
  }
  return ret;
}
int IrSony::send_command(unsigned long command)
{
  int ret = 0;
  unsigned long address = 0x1E3A;
  LOG_MODULE_DECLARE(irsony);
  unsigned long code = (unsigned long)address << 7 | command;
  LOG_INF("send command=0x%08lu code=0x%08lu", command, code);

  for (int i = 0; i < 6; i++)
  {
    ret = send_code(code);
    if (ret < 0)
    {
      return ret;
    }
    k_busy_wait(11000);
  }
  return ret;
}

IrSony::IrSony()
{
  LOG_MODULE_DECLARE(irsony);
  int ret;
  if (!pwm_is_ready_dt(&pwmir_spec))
  {
    LOG_ERR("Error: PWM device %s is not ready\n",
            pwmir_spec.dev->name);
    return;
  }
  ret = pwm_set_dt(&pwmir_spec, PERIOD_USEC, 0);
  // pwm_pin_set_usec(pwm, PWM_IR_CHANNEL, PERIOD_USEC, 0, PWM_IR_FLAGS)
  if (ret < 0)
  {
    LOG_ERR("failed to stop carrier");
    return;
  }
}

void IrSony::shoot()
{
  LOG_MODULE_DECLARE(irsony);
  int ret = send_command(shutter_code);
  if (ret < 0)
  {
    LOG_ERR("failed to send shoot");
  }
}
```

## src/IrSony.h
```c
#ifndef IRSONY_H_
#define IRSONY_H_

#include <zephyr/device.h>
#include <zephyr/drivers/pwm.h>
#include <zephyr/init.h>
#include <stdbool.h>
#include <stdio.h>
#include <stdlib.h>
#include <string.h>
#include <zephyr/kernel.h>
#include <zephyr/types.h>

#include <zephyr/logging/log.h>

#include "GPIOs.h"

// #define PWM_IR_NODE DT_ALIAS(pwmir)
// #define PWM_IR_CTLR DT_PWMS_CTLR(PWM_IR_NODE)
// #define PWM_IR_CHANNEL DT_PWMS_CHANNEL(PWM_IR_NODE)
// #define PWM_IR_FLAGS DT_PWMS_FLAGS(PWM_IR_NODE)

#define MIN_PERIOD_USEC (USEC_PER_SEC / 64U)
#define MAX_PERIOD_USEC USEC_PER_SEC

// 40kHz
#define PERIOD_USEC (USEC_PER_SEC / 40000U)
// pulses with approx 25% mark/space ratio
#define PULSE_USEC (PERIOD_USEC / 4)

class IrSony
{

#if DT_NODE_EXISTS(DT_NODELABEL(rail_pwmir))
  const struct pwm_dt_spec pwmir_spec = PWM_DT_SPEC_GET(DT_CHOSEN(rail_pwmir));
  uint32_t max_period = MAX_PERIOD_USEC;

  int start_carrier();
  int stop_carrier();
  int send_pulse(int duration);
  int send_start();
  int send_bit(bool is_one);
  int send_code(unsigned long code);
  int send_command(unsigned long command);
#endif // if exists

public:
  IrSony();
  void shoot();
};

#endif // IRSONY_H_
```

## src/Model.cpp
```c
#include "Model.h"
#include <zephyr/logging/log.h>
LOG_MODULE_REGISTER(model);

Model::Model(StepperWithTarget *_stepper) : stepper{_stepper}
{
  stepps = (int *)malloc(sizeof(int) * 1000);
}

void Model::log_state() {
  stepper->log_state();
  LOG_INF("bounds=(%i, %i)", lower_bound, upper_bound);
  LOG_INF("step_number=%i, cur_step_index=%i, stack_in_progress=%d",
          step_number, cur_step_index, stack_in_progress);
};

void Model::go(int dist) {
  LOG_MODULE_DECLARE(model);
  int target_position = stepper->go_relative(dist);
  LOG_INF("target: %i", target_position);
}

void Model::set_target_position(int _target_position) {
  stepper->set_target_position(_target_position);
}
int Model::get_target_position() { return stepper->get_target_position(); }

void Model::set_upper_bound(int _upper_bound) { upper_bound = _upper_bound; }
int Model::get_upper_bound() { return upper_bound; }
void Model::set_lower_bound(int _lower_bound) { lower_bound = _lower_bound; }
int Model::get_lower_bound() { return lower_bound; }

void Model::set_step_number(int _step_number) {
  step_number = _step_number;
  cur_step_index = 0;
}
void Model::set_step_position(int index, int pos) { stepps[index] = pos; }
std::optional<int> Model::get_next_step_and_increment() {
  if (cur_step_index >= step_number) {
    stack_in_progress = false;
    return {};
  }
  return stepps[cur_step_index++];
}
void Model::set_stack_in_progress(bool _stack_in_progress) {
  stack_in_progress = _stack_in_progress;
  if (!stack_in_progress) {
    cur_step_index = 0;
  }
}
bool Model::is_stack_in_progress() { return stack_in_progress; }

int Model::get_cur_position() { return stepper->get_position(); }

bool Model::is_in_target_position() {
  return get_cur_position() == get_target_position();
}
```

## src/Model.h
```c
#ifndef __MODEL_H_
#define __MODEL_H_

#include <zephyr/device.h>
#include <zephyr/init.h>
#include <stdbool.h>
#include <stdio.h>
#include <stdlib.h>
#include <string.h>
#include <zephyr/kernel.h>
#include <zephyr/types.h>
#include <zephyr/zbus/zbus.h>

#include <optional>

#include "StepperWithTarget.h"

struct model_status
{
  struct stepper_with_target_status stepper_with_target_status;
  int upper_bound;
  int lower_bound;

  int step_number;
  int cur_step_index;

  bool stack_in_progress;
};

class Model
{
  StepperWithTarget *stepper;
  int upper_bound = 12800;
  int lower_bound = 0;

  int step_number = 0;
  int cur_step_index = 0;
  int *stepps;
  bool stack_in_progress = false;

public:
  Model(StepperWithTarget *_stepper);

  void log_state();

  void go(int dist);

  void set_target_position(int _target_position);
  int get_target_position();
  void set_upper_bound(int _upper_bound);
  int get_upper_bound();
  void set_lower_bound(int _lower_bound);
  int get_lower_bound();

  void set_step_number(int _step_number);
  int get_step_number() { return step_number; };
  int get_step_jump_size()
  {
    if (step_number > 1)
    {
      return stepps[1] - stepps[0];
    }
    else
    {
      return 0;
    }
  };
  int get_cur_step_index() { return cur_step_index; };
  void set_step_position(int index, int pos);
  std::optional<int> get_next_step_and_increment();
  void set_stack_in_progress(bool _stack_in_progress);
  bool is_stack_in_progress();

  int get_cur_position();
  bool is_in_target_position();

  const struct model_status get_status()
  {
    return {
        .stepper_with_target_status = stepper->get_status(),
        .upper_bound = upper_bound,
        .lower_bound = lower_bound,
        .step_number = step_number,
        .cur_step_index = cur_step_index,
        .stack_in_progress = stack_in_progress,
    };
  }
  void pub_status();
};

#endif // __MODEL_H_
```
